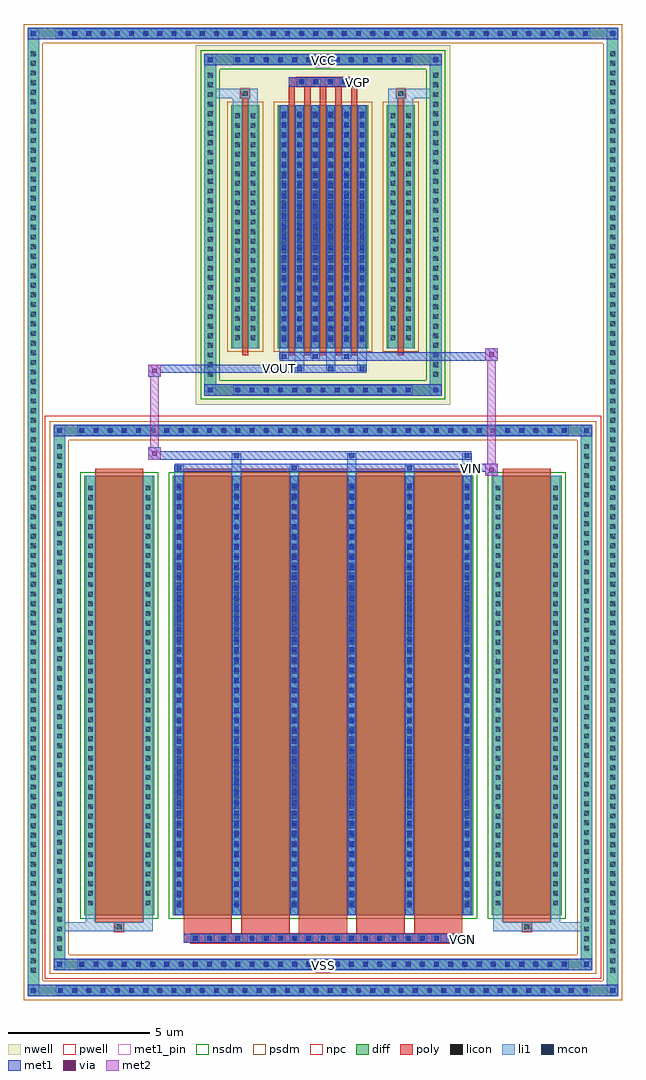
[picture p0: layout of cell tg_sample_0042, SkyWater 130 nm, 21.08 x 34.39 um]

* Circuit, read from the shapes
.subckt tg_sample_0042 VCC VGN VGP VIN VOUT VSS
XM1 VSS VSS VSS VSUBS sky130_fd_pr__nfet_01v8 w=15.47 l=1.7 m=2
XM2 VOUT VGN VIN VSUBS sky130_fd_pr__nfet_01v8 w=15.47 l=1.7 m=5
XM3 VCC VCC VCC n1 sky130_fd_pr__pfet_01v8 w=8.56 l=0.22 m=2
XM4 VOUT VGP VIN n1 sky130_fd_pr__pfet_01v8 w=8.56 l=0.22 m=5
.ends

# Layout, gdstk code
import gdstk
lib = gdstk.Library(unit=1e-6, precision=5e-09)
def R(c, l, rs):  # rectangles x0, y0, x1, y1
    for r in rs: c.add(gdstk.rectangle(r[:2], r[2:], *l))
def A(c, l, x, y, w, h, nx, ny, dx, dy):  # array of equal rectangles
    R(c, l, [(x+i*dx, y+j*dy, x+i*dx+w, y+j*dy+h) for i in range(nx) for j in range(ny)])
def P(c, l, *ps):  # polygons
    for p in ps: c.add(gdstk.Polygon(p, *l))
nwell = (64, 20)
pwell = (64, 44)
diff = (65, 20)
poly = (66, 20)
licon = (66, 44)
li1 = (67, 20)
mcon = (67, 44)
met1_pin = (68, 16)
met1 = (68, 20)
via = (68, 44)
met2 = (69, 20)
nsdm = (93, 44)
psdm = (94, 20)
npc = (95, 20)

tg_sample_0042 = lib.new_cell('tg_sample_0042')
R(tg_sample_0042, nwell, [(-4.49,10.32,4.49,22.99)])
R(tg_sample_0042, pwell, [(-9.8,-9.92,9.8,9.92)])
A(tg_sample_0042, diff, -9.455, -10.53, 0.41, 0.41, 38, 2, 0.5, 33.72)
A(tg_sample_0042, diff, -10.41, -9.82, 0.41, 0.41, 1, 96, 0, 0.34)
A(tg_sample_0042, diff, 10, -9.82, 0.41, 0.41, 1, 96, 0, 0.34)
A(tg_sample_0042, diff, -8.705, -9.61, 0.41, 0.41, 35, 2, 0.5, 18.81)
A(tg_sample_0042, diff, -9.49, -9.045, 0.41, 0.41, 1, 53, 0, 0.34)
A(tg_sample_0042, diff, 9.08, -9.045, 0.41, 0.41, 1, 53, 0, 0.34)
A(tg_sample_0042, diff, -3.205, 10.63, 0.41, 0.41, 13, 2, 0.5, 11.64)
A(tg_sample_0042, diff, -4.18, 11.18, 0.41, 0.41, 1, 32, 0, 0.34)
A(tg_sample_0042, diff, 3.77, 11.18, 0.41, 0.41, 1, 32, 0, 0.34)
R(tg_sample_0042, diff, [(-9.455,-10.53,9.455,-10.12), (-10.41,-9.82,-10,22.89), (10,-9.82,10.41,22.89), (-8.705,-9.61,8.705,-9.2), (-9.49,-9.045,-9.08,9.045), (9.08,-9.045,9.49,9.045), (-8.42,-7.665,-5.94,7.805), (-5.3,-7.665,5.3,7.805), (5.94,-7.665,8.42,7.805), (-8.705,9.2,8.705,9.61), (-3.205,10.63,3.205,11.04), (-4.18,11.18,-3.77,22.13), (3.77,11.18,4.18,22.13), (-3.24,12.305,-2.24,20.865), (-1.6,12.305,1.6,20.865), (2.24,12.305,3.24,20.865), (-3.205,22.27,3.205,22.68), (-9.455,23.19,9.455,23.6)])
P(tg_sample_0042, diff, [(9.49,9.61),(-9.49,9.61),(-9.49,-9.2),(-9.08,-9.2),(-9.08,9.2),(9.08,9.2),(9.08,-9.2),(-9.08,-9.2),(-9.49,-9.2),(-9.49,-9.61),(9.49,-9.61)],
  [(10.41,23.6),(-10.41,23.6),(-10.41,-10.12),(-10,-10.12),(-10,23.19),(10,23.19),(10,-10.12),(-10,-10.12),(-10.41,-10.12),(-10.41,-10.53),(10.41,-10.53)],
  [(4.18,10.63),(-4.18,10.63),(-4.18,22.27),(-3.77,22.27),(-3.77,11.04),(3.77,11.04),(3.77,22.27),(-3.77,22.27),(-4.18,22.27),(-4.18,22.68),(4.18,22.68)])
A(tg_sample_0042, poly, -4.665, -8.65, 0.33, 0.33, 19, 1, 0.5, 0)
A(tg_sample_0042, poly, -4.91, -8.32, 1.7, 0.405, 5, 1, 2.03, 0)
A(tg_sample_0042, poly, -4.91, -7.915, 1.7, 15.97, 5, 1, 2.03, 0)
A(tg_sample_0042, poly, -1.21, 12.055, 0.22, 9.06, 5, 1, 0.55, 0)
A(tg_sample_0042, poly, -1.21, 21.115, 0.22, 0.41, 5, 1, 0.55, 0)
A(tg_sample_0042, poly, -0.915, 21.525, 0.33, 0.33, 4, 1, 0.5, 0)
R(tg_sample_0042, poly, [(-4.91,-8.65,4.91,-8.32), (-7.345,-8.245,-7.015,-7.915), (-7.345,-8.245,-7.015,-7.915), (7.015,-8.245,7.345,-7.915), (7.015,-8.245,7.345,-7.915), (-8.03,-7.915,-6.33,8.055), (6.33,-7.915,8.03,8.055), (-2.85,12.055,-2.63,21.115), (2.63,12.055,2.85,21.115), (-2.905,21.115,-2.575,21.445), (-2.905,21.115,-2.575,21.445), (2.575,21.115,2.905,21.445), (2.575,21.115,2.905,21.445), (-1.21,21.525,1.21,21.855)])
A(tg_sample_0042, licon, -9.335, -10.41, 0.17, 0.17, 38, 2, 0.5, 33.72)
A(tg_sample_0042, licon, -10.29, -9.7, 0.17, 0.17, 1, 96, 0, 0.34)
A(tg_sample_0042, licon, 10.12, -9.7, 0.17, 0.17, 1, 96, 0, 0.34)
A(tg_sample_0042, licon, -8.585, -9.49, 0.17, 0.17, 35, 2, 0.5, 18.81)
A(tg_sample_0042, licon, -9.37, -8.925, 0.17, 0.17, 1, 53, 0, 0.34)
A(tg_sample_0042, licon, 9.2, -8.925, 0.17, 0.17, 1, 53, 0, 0.34)
A(tg_sample_0042, licon, -4.585, -8.57, 0.17, 0.17, 19, 1, 0.5, 0)
A(tg_sample_0042, licon, -8.28, -7.325, 0.17, 0.17, 1, 44, 0, 0.34)
A(tg_sample_0042, licon, -6.25, -7.325, 0.17, 0.17, 1, 44, 0, 0.34)
A(tg_sample_0042, licon, -5.16, -7.325, 0.17, 0.17, 6, 44, 2.03, 0.34)
A(tg_sample_0042, licon, 6.08, -7.325, 0.17, 0.17, 1, 44, 0, 0.34)
A(tg_sample_0042, licon, 8.11, -7.325, 0.17, 0.17, 1, 44, 0, 0.34)
A(tg_sample_0042, licon, -3.085, 10.75, 0.17, 0.17, 13, 2, 0.5, 11.64)
A(tg_sample_0042, licon, -4.06, 11.3, 0.17, 0.17, 1, 32, 0, 0.34)
A(tg_sample_0042, licon, 3.89, 11.3, 0.17, 0.17, 1, 32, 0, 0.34)
A(tg_sample_0042, licon, -3.1, 12.59, 0.17, 0.17, 1, 24, 0, 0.34)
A(tg_sample_0042, licon, -2.55, 12.59, 0.17, 0.17, 1, 24, 0, 0.34)
A(tg_sample_0042, licon, -1.46, 12.59, 0.17, 0.17, 6, 24, 0.55, 0.34)
A(tg_sample_0042, licon, 2.38, 12.59, 0.17, 0.17, 1, 24, 0, 0.34)
A(tg_sample_0042, licon, 2.93, 12.59, 0.17, 0.17, 1, 24, 0, 0.34)
A(tg_sample_0042, licon, -0.835, 21.605, 0.17, 0.17, 4, 1, 0.5, 0)
R(tg_sample_0042, licon, [(-7.265,-8.165,-7.095,-7.995), (7.095,-8.165,7.265,-7.995), (-2.825,21.195,-2.655,21.365), (2.655,21.195,2.825,21.365)])
A(tg_sample_0042, li1, -9.415, -10.49, 0.33, 0.33, 38, 2, 0.5, 33.72)
A(tg_sample_0042, li1, -10.37, -9.78, 0.33, 0.33, 1, 96, 0, 0.34)
A(tg_sample_0042, li1, 10.04, -9.78, 0.33, 0.33, 1, 96, 0, 0.34)
A(tg_sample_0042, li1, -8.665, -9.57, 0.33, 0.33, 35, 2, 0.5, 18.81)
A(tg_sample_0042, li1, -9.45, -9.005, 0.33, 0.33, 1, 53, 0, 0.34)
A(tg_sample_0042, li1, 9.12, -9.005, 0.33, 0.33, 1, 53, 0, 0.34)
A(tg_sample_0042, li1, -4.665, -8.65, 0.33, 0.33, 19, 1, 0.5, 0)
A(tg_sample_0042, li1, -5.24, -7.665, 0.33, 15.47, 6, 1, 2.03, 0)
A(tg_sample_0042, li1, -8.36, -7.405, 0.33, 0.33, 1, 44, 0, 0.34)
A(tg_sample_0042, li1, -6.33, -7.405, 0.33, 0.33, 1, 44, 0, 0.34)
A(tg_sample_0042, li1, -5.24, -7.405, 0.33, 0.33, 6, 44, 2.03, 0.34)
A(tg_sample_0042, li1, 6, -7.405, 0.33, 0.33, 1, 44, 0, 0.34)
A(tg_sample_0042, li1, 8.03, -7.405, 0.33, 0.33, 1, 44, 0, 0.34)
A(tg_sample_0042, li1, -5.16, -7.395, 0.17, 0.17, 6, 42, 2.03, 0.36)
A(tg_sample_0042, li1, -5.16, -7.395, 0.17, 14.93, 6, 1, 2.03, 0)
A(tg_sample_0042, li1, -5.24, 7.805, 0.33, 0.375, 3, 1, 4.06, 0)
A(tg_sample_0042, li1, -3.21, 7.805, 0.33, 0.805, 3, 1, 4.06, 0)
A(tg_sample_0042, li1, -5.16, 8.01, 0.17, 0.17, 3, 1, 4.06, 0)
A(tg_sample_0042, li1, -3.13, 8.44, 0.17, 0.17, 3, 1, 4.06, 0)
A(tg_sample_0042, li1, -3.165, 10.67, 0.33, 0.33, 13, 2, 0.5, 11.64)
A(tg_sample_0042, li1, -4.14, 11.22, 0.33, 0.33, 1, 32, 0, 0.34)
A(tg_sample_0042, li1, 3.81, 11.22, 0.33, 0.33, 1, 32, 0, 0.34)
A(tg_sample_0042, li1, -0.99, 11.5, 0.33, 0.805, 3, 1, 1.1, 0)
A(tg_sample_0042, li1, -0.91, 11.5, 0.17, 0.17, 3, 1, 1.1, 0)
A(tg_sample_0042, li1, -1.54, 11.93, 0.33, 0.375, 3, 1, 1.1, 0)
A(tg_sample_0042, li1, -1.46, 11.93, 0.17, 0.17, 3, 1, 1.1, 0)
A(tg_sample_0042, li1, -1.54, 12.305, 0.33, 8.56, 6, 1, 0.55, 0)
A(tg_sample_0042, li1, -3.18, 12.51, 0.33, 0.33, 1, 24, 0, 0.34)
A(tg_sample_0042, li1, -2.63, 12.51, 0.33, 0.33, 1, 24, 0, 0.34)
A(tg_sample_0042, li1, -1.54, 12.51, 0.33, 0.33, 6, 24, 0.55, 0.34)
A(tg_sample_0042, li1, 2.3, 12.51, 0.33, 0.33, 1, 24, 0, 0.34)
A(tg_sample_0042, li1, 2.85, 12.51, 0.33, 0.33, 1, 24, 0, 0.34)
A(tg_sample_0042, li1, -1.46, 12.54, 0.17, 0.17, 6, 23, 0.55, 0.36)
A(tg_sample_0042, li1, -1.46, 12.54, 0.17, 8.09, 6, 1, 0.55, 0)
A(tg_sample_0042, li1, -0.915, 21.525, 0.33, 0.33, 4, 1, 0.5, 0)
R(tg_sample_0042, li1, [(-10.41,-10.53,-10,-10.12), (10,-10.53,10.41,-10.12), (-9.415,-10.49,9.415,-10.16), (-10.29,-10.41,-10.12,-10.24), (-10.29,-10.41,-10.12,-10.24), (10.12,-10.41,10.29,-10.24), (10.12,-10.41,10.29,-10.24), (-10.41,-10.12,-10,23.19), (10,-10.12,10.41,23.19), (-9.49,-9.61,-9.08,-9.2), (9.08,-9.61,9.49,-9.2), (-8.665,-9.57,8.665,-9.24), (-9.37,-9.49,-9.2,-9.32), (-9.37,-9.49,-9.2,-9.32), (9.2,-9.49,9.37,-9.32), (9.2,-9.49,9.37,-9.32), (-9.49,-9.2,-9.08,9.2), (9.08,-9.2,9.49,9.2), (-9.49,-8.245,-7.345,-7.915), (-8.36,-8.245,-7.345,-7.915), (-8.36,-8.245,-8.03,-7.665), (-7.345,-8.245,-7.015,-7.915), (-7.015,-8.245,-6,-7.915), (-6.33,-8.245,-6,-7.665), (6,-8.245,7.015,-7.915), (6,-8.245,6.33,-7.665), (7.015,-8.245,7.345,-7.915), (7.015,-8.245,9.49,-7.915), (7.345,-8.245,8.36,-7.915), (8.03,-8.245,8.36,-7.665), (-8.36,-7.665,-8.03,7.805), (-6.33,-7.665,-6,7.805), (6,-7.665,6.33,7.805), (8.03,-7.665,8.36,7.805), (-9.49,9.2,-9.08,9.61), (9.08,9.2,9.49,9.61), (-8.665,9.24,8.665,9.57), (-9.37,9.32,-9.2,9.49), (-9.37,9.32,-9.2,9.49), (9.2,9.32,9.37,9.49), (9.2,9.32,9.37,9.49), (-4.18,10.63,-3.77,11.04), (3.77,10.63,4.18,11.04), (-3.165,10.67,3.165,11), (-4.06,10.75,-3.89,10.92), (-4.06,10.75,-3.89,10.92), (3.89,10.75,4.06,10.92), (3.89,10.75,4.06,10.92), (-4.18,11.04,-3.77,22.27), (3.77,11.04,4.18,22.27), (-3.18,12.305,-2.85,20.865), (-2.63,12.305,-2.3,20.865), (2.3,12.305,2.63,20.865), (2.85,12.305,3.18,20.865), (-3.18,20.865,-2.85,21.445), (-2.63,20.865,-2.3,21.445), (2.3,20.865,2.63,21.445), (2.85,20.865,3.18,21.445), (-4.18,21.115,-2.905,21.445), (-3.18,21.115,-2.905,21.445), (-2.905,21.115,-2.575,21.445), (-2.575,21.115,-2.3,21.445), (2.3,21.115,2.575,21.445), (2.575,21.115,2.905,21.445), (2.575,21.115,4.18,21.445), (2.905,21.115,3.18,21.445), (-4.18,22.27,-3.77,22.68), (3.77,22.27,4.18,22.68), (-3.165,22.31,3.165,22.64), (-4.06,22.39,-3.89,22.56), (-4.06,22.39,-3.89,22.56), (3.89,22.39,4.06,22.56), (3.89,22.39,4.06,22.56), (-10.41,23.19,-10,23.6), (10,23.19,10.41,23.6), (-9.415,23.23,9.415,23.56), (-10.29,23.31,-10.12,23.48), (-10.29,23.31,-10.12,23.48), (10.12,23.31,10.29,23.48), (10.12,23.31,10.29,23.48)])
A(tg_sample_0042, mcon, -9.335, -10.41, 0.17, 0.17, 38, 2, 0.5, 33.72)
A(tg_sample_0042, mcon, -8.585, -9.49, 0.17, 0.17, 35, 2, 0.5, 18.81)
A(tg_sample_0042, mcon, -4.585, -8.57, 0.17, 0.17, 19, 1, 0.5, 0)
A(tg_sample_0042, mcon, -5.16, -7.395, 0.17, 0.17, 6, 42, 2.03, 0.36)
A(tg_sample_0042, mcon, -5.16, 8.01, 0.17, 0.17, 3, 1, 4.06, 0)
A(tg_sample_0042, mcon, -3.13, 8.44, 0.17, 0.17, 3, 1, 4.06, 0)
A(tg_sample_0042, mcon, -3.085, 10.75, 0.17, 0.17, 13, 2, 0.5, 11.64)
A(tg_sample_0042, mcon, -0.91, 11.5, 0.17, 0.17, 3, 1, 1.1, 0)
A(tg_sample_0042, mcon, -1.46, 11.93, 0.17, 0.17, 3, 1, 1.1, 0)
A(tg_sample_0042, mcon, -1.46, 12.54, 0.17, 0.17, 6, 23, 0.55, 0.36)
A(tg_sample_0042, mcon, -0.835, 21.605, 0.17, 0.17, 4, 1, 0.5, 0)
R(tg_sample_0042, mcon, [(-10.29,-10.41,-10.12,-10.24), (10.12,-10.41,10.29,-10.24), (-9.37,-9.49,-9.2,-9.32), (9.2,-9.49,9.37,-9.32), (-9.37,9.32,-9.2,9.49), (9.2,9.32,9.37,9.49), (-4.06,10.75,-3.89,10.92), (3.89,10.75,4.06,10.92), (-4.06,22.39,-3.89,22.56), (3.89,22.39,4.06,22.56), (-10.29,23.31,-10.12,23.48), (10.12,23.31,10.29,23.48)])
R(tg_sample_0042, met1_pin, [(-0.25,-9.7,0.25,-9.2), (4.775,-8.65,5.045,-8.38), (5.085,7.95,5.355,8.22), (-1.655,11.44,-1.385,11.71), (1.075,21.525,1.345,21.795), (-0.25,22.18,0.25,22.68)])
A(tg_sample_0042, met1, -9.395, -10.47, 0.29, 0.29, 38, 2, 0.5, 33.72)
A(tg_sample_0042, met1, -8.645, -9.55, 0.29, 0.29, 35, 2, 0.5, 18.81)
A(tg_sample_0042, met1, -4.645, -8.63, 0.29, 0.29, 19, 1, 0.5, 0)
A(tg_sample_0042, met1, -5.22, -7.665, 0.29, 15.47, 6, 1, 2.03, 0)
A(tg_sample_0042, met1, -5.22, -7.455, 0.29, 0.29, 6, 42, 2.03, 0.36)
A(tg_sample_0042, met1, -5.22, 7.95, 0.29, 0.29, 3, 1, 4.06, 0)
A(tg_sample_0042, met1, -3.19, 8.38, 0.29, 0.29, 3, 1, 4.06, 0)
A(tg_sample_0042, met1, -3.145, 10.69, 0.29, 0.29, 13, 2, 0.5, 11.64)
A(tg_sample_0042, met1, -0.97, 11.44, 0.29, 0.29, 3, 1, 1.1, 0)
A(tg_sample_0042, met1, -1.52, 11.87, 0.29, 0.29, 3, 1, 1.1, 0)
A(tg_sample_0042, met1, -1.52, 12.305, 0.29, 8.56, 6, 1, 0.55, 0)
A(tg_sample_0042, met1, -1.52, 12.48, 0.29, 0.29, 6, 23, 0.55, 0.36)
A(tg_sample_0042, met1, -0.895, 21.545, 0.29, 0.29, 4, 1, 0.5, 0)
R(tg_sample_0042, met1, [(-10.41,-10.53,-10,-10.12), (-10.41,-10.53,-10,-10.12), (-10,-10.53,10,-10.12), (10,-10.53,10.41,-10.12), (10,-10.53,10.41,-10.12), (-10.35,-10.47,-10.06,-10.18), (10.06,-10.47,10.35,-10.18), (-9.49,-9.61,-9.08,-9.2), (-9.49,-9.61,-9.08,-9.2), (-9.08,-9.61,9.08,-9.2), (9.08,-9.61,9.49,-9.2), (9.08,-9.61,9.49,-9.2), (-9.43,-9.55,-9.14,-9.26), (9.14,-9.55,9.43,-9.26), (-4.91,-8.65,4.91,-8.32), (5.72,7.81,6.15,8.24), (-5.22,7.95,5.22,8.24), (5.22,7.95,6.15,8.24), (-6.15,8.38,-5.22,8.67), (-6.15,8.38,-5.72,8.81), (-5.22,8.38,5.22,8.67), (-9.49,9.2,-9.08,9.61), (-9.49,9.2,-9.08,9.61), (-9.08,9.2,9.08,9.61), (9.08,9.2,9.49,9.61), (9.08,9.2,9.49,9.61), (-9.43,9.26,-9.14,9.55), (9.14,9.26,9.43,9.55), (-4.18,10.63,-3.77,11.04), (-4.18,10.63,-3.77,11.04), (-3.77,10.63,3.77,11.04), (3.77,10.63,4.18,11.04), (3.77,10.63,4.18,11.04), (-4.12,10.69,-3.83,10.98), (3.83,10.69,4.12,10.98), (-6.15,11.3,-5.72,11.73), (-6.15,11.44,-1.52,11.73), (-1.52,11.44,1.52,11.73), (-1.52,11.87,1.52,12.16), (1.52,11.87,6.15,12.16), (5.72,11.87,6.15,12.3), (-1.21,21.525,1.21,21.855), (-4.18,22.27,-3.77,22.68), (-4.18,22.27,-3.77,22.68), (-3.77,22.27,3.77,22.68), (3.77,22.27,4.18,22.68), (3.77,22.27,4.18,22.68), (-4.12,22.33,-3.83,22.62), (3.83,22.33,4.12,22.62), (-10.41,23.19,-10,23.6), (-10.41,23.19,-10,23.6), (-10,23.19,10,23.6), (10,23.19,10.41,23.6), (10,23.19,10.41,23.6), (-10.35,23.25,-10.06,23.54), (10.06,23.25,10.35,23.54)])
R(tg_sample_0042, via, [(5.86,7.95,6.01,8.1), (-6.01,8.52,-5.86,8.67), (-6.01,11.44,-5.86,11.59), (5.86,12.01,6.01,12.16)])
R(tg_sample_0042, met2, [(5.72,7.81,6.15,8.24), (5.79,7.81,6.08,12.3), (6.08,7.81,6.15,8.24), (5.77,7.86,6.1,8.19), (-6.15,8.38,-5.72,8.81), (-6.08,8.38,-5.79,11.73), (-5.79,8.38,-5.72,8.81), (-6.1,8.43,-5.77,8.76), (-6.15,11.3,-5.72,11.73), (-5.79,11.3,-5.72,11.73), (-6.1,11.35,-5.77,11.68), (5.72,11.87,6.15,12.3), (6.08,11.87,6.15,12.3), (5.77,11.92,6.1,12.25)])
R(tg_sample_0042, nsdm, [(-8.55,-7.795,-5.81,7.935), (-5.43,-7.795,5.43,7.935), (5.81,-7.795,8.55,7.935)])
P(tg_sample_0042, nsdm, [(4.31,10.5),(-4.31,10.5),(-4.31,22.14),(-3.64,22.14),(-3.64,11.17),(3.64,11.17),(3.64,22.14),(-3.64,22.14),(-4.31,22.14),(-4.31,22.81),(4.31,22.81)])
R(tg_sample_0042, psdm, [(-3.37,12.175,-2.11,20.995), (-1.73,12.175,1.73,20.995), (2.11,12.175,3.37,20.995)])
P(tg_sample_0042, psdm, [(9.62,9.74),(-9.62,9.74),(-9.62,-9.07),(-8.95,-9.07),(-8.95,9.07),(8.95,9.07),(8.95,-9.07),(-8.95,-9.07),(-9.62,-9.07),(-9.62,-9.74),(9.62,-9.74)],
  [(10.54,23.73),(-10.54,23.73),(-10.54,-9.99),(-9.87,-9.99),(-9.87,23.06),(9.87,23.06),(9.87,-9.99),(-9.87,-9.99),(-10.54,-9.99),(-10.54,-10.66),(10.54,-10.66)])
A(tg_sample_0042, npc, -4.685, -8.67, 0.37, 0.37, 19, 1, 0.5, 0)
A(tg_sample_0042, npc, -0.935, 21.505, 0.37, 0.37, 4, 1, 0.5, 0)
R(tg_sample_0042, npc, [(-4.685,-8.67,-3.815,-8.3), (-4.685,-8.67,-3.815,-8.3), (-4.185,-8.67,-3.315,-8.3), (-4.185,-8.67,-3.315,-8.3), (-3.685,-8.67,-2.815,-8.3), (-3.685,-8.67,-2.815,-8.3), (-3.185,-8.67,-2.315,-8.3), (-3.185,-8.67,-2.315,-8.3), (-2.685,-8.67,-1.815,-8.3), (-2.685,-8.67,-1.815,-8.3), (-2.185,-8.67,-1.315,-8.3), (-2.185,-8.67,-1.315,-8.3), (-1.685,-8.67,-0.815,-8.3), (-1.685,-8.67,-0.815,-8.3), (-1.185,-8.67,-0.315,-8.3), (-1.185,-8.67,-0.315,-8.3), (-0.685,-8.67,0.185,-8.3), (-0.685,-8.67,0.185,-8.3), (-0.185,-8.67,0.685,-8.3), (-0.185,-8.67,0.685,-8.3), (0.315,-8.67,1.185,-8.3), (0.315,-8.67,1.185,-8.3), (0.815,-8.67,1.685,-8.3), (0.815,-8.67,1.685,-8.3), (1.315,-8.67,2.185,-8.3), (1.315,-8.67,2.185,-8.3), (1.815,-8.67,2.685,-8.3), (1.815,-8.67,2.685,-8.3), (2.315,-8.67,3.185,-8.3), (2.315,-8.67,3.185,-8.3), (2.815,-8.67,3.685,-8.3), (2.815,-8.67,3.685,-8.3), (3.315,-8.67,4.185,-8.3), (3.315,-8.67,4.185,-8.3), (3.815,-8.67,4.685,-8.3), (3.815,-8.67,4.685,-8.3), (-7.365,-8.265,-6.995,-7.895), (6.995,-8.265,7.365,-7.895), (-2.925,21.095,-2.555,21.465), (2.555,21.095,2.925,21.465), (-0.935,21.505,-0.065,21.875), (-0.935,21.505,-0.065,21.875), (-0.435,21.505,0.435,21.875), (-0.435,21.505,0.435,21.875), (0.065,21.505,0.935,21.875), (0.065,21.505,0.935,21.875)])
tg_sample_0042.add(gdstk.Label('VIN', (5.22,8.085), layer=68, texttype=5))
tg_sample_0042.add(gdstk.Label('VGN', (4.91,-8.515), layer=68, texttype=5))
tg_sample_0042.add(gdstk.Label('VGP', (1.21,21.66), layer=68, texttype=5))
tg_sample_0042.add(gdstk.Label('VSS', (0,-9.45), layer=68, texttype=5))
tg_sample_0042.add(gdstk.Label('VCC', (0,22.43), layer=68, texttype=5))
tg_sample_0042.add(gdstk.Label('VOUT', (-1.52,11.575), layer=68, texttype=5))

lib.write_gds('tg_sample_0042.gds')
